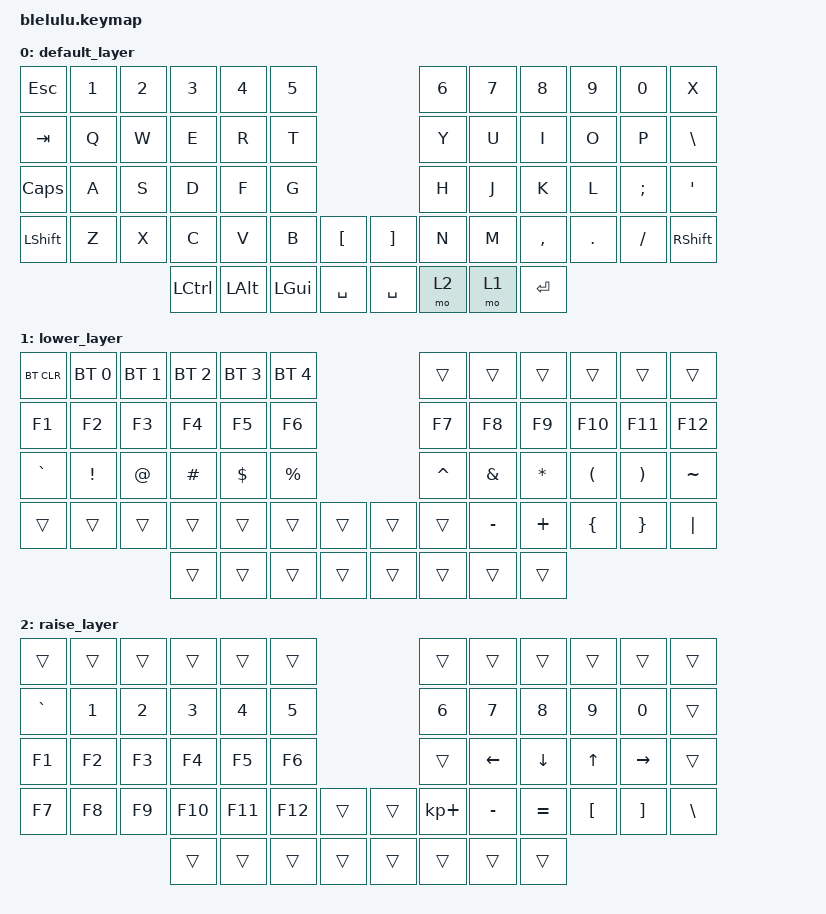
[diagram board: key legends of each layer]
/*
 * Copyright (c) 2026 jack@pngu.org
 * SPDX-License-Identifier: MIT
 */

#include <behaviors.dtsi>
#include <dt-bindings/zmk/keys.h>
#include <dt-bindings/zmk/bt.h>

/ {
    keymap {
        compatible = "zmk,keymap";
        default_layer {
            bindings = <
                &kp ESC   &kp N1 &kp N2 &kp N3    &kp N4   &kp N5                        &kp N6    &kp N7 &kp N8    &kp N9  &kp N0   &kp X
                &kp TAB   &kp Q  &kp W  &kp E     &kp R    &kp T                         &kp Y     &kp U  &kp I     &kp O   &kp P    &kp BSLH
                &kp CAPS  &kp A  &kp S  &kp D     &kp F    &kp G                         &kp H     &kp J  &kp K     &kp L   &kp SEMI &kp SQT
                &kp LSHFT &kp Z  &kp X  &kp C     &kp V    &kp B    &kp LBKT   &kp RBKT  &kp N     &kp M  &kp COMMA &kp DOT &kp FSLH &kp RSHFT
                                        &kp LCTRL &kp LALT &kp LGUI &kp SPACE  &kp SPACE &mo 2     &mo 1  &kp RET
            >;
        };

        lower_layer {
            bindings = <
                &bt BT_CLR &bt BT_SEL 0 &bt BT_SEL 1 &bt BT_SEL 2 &bt BT_SEL 3 &bt BT_SEL 4                 &trans    &trans    &trans    &trans    &trans    &trans
                &kp F1     &kp F2       &kp F3       &kp F4       &kp F5       &kp F6                       &kp F7    &kp F8    &kp F9    &kp F10   &kp F11   &kp F12
                &kp GRAVE  &kp EXCL     &kp AT       &kp HASH     &kp DOLLAR   &kp PRCNT                    &kp CARET &kp AMPS  &kp ASTRK &kp LPAR  &kp RPAR  &kp TILDE
                &trans     &trans       &trans       &trans       &trans       &trans    &trans   &trans    &trans    &kp MINUS &kp PLUS  &kp LBRC  &kp RBRC  &kp PIPE
                                                     &trans       &trans       &trans    &trans   &trans    &trans    &trans    &trans
            >;
        };

        raise_layer {
            bindings = <
                &trans    &trans &trans &trans  &trans  &trans                       &trans      &trans    &trans    &trans   &trans    &trans
                &kp GRAVE &kp N1 &kp N2 &kp N3  &kp N4  &kp N5                       &kp N6      &kp N7    &kp N8    &kp N9   &kp N0    &trans
                &kp F1    &kp F2 &kp F3 &kp F4  &kp F5  &kp F6                       &trans      &kp LEFT  &kp DOWN  &kp UP   &kp RIGHT &trans
                &kp F7    &kp F8 &kp F9 &kp F10 &kp F11 &kp F12   &trans   &trans    &kp KP_PLUS &kp MINUS &kp EQUAL &kp LBKT &kp RBKT  &kp BSLH
                                        &trans  &trans  &trans    &trans   &trans    &trans      &trans    &trans
            >;
        };
    };
};
